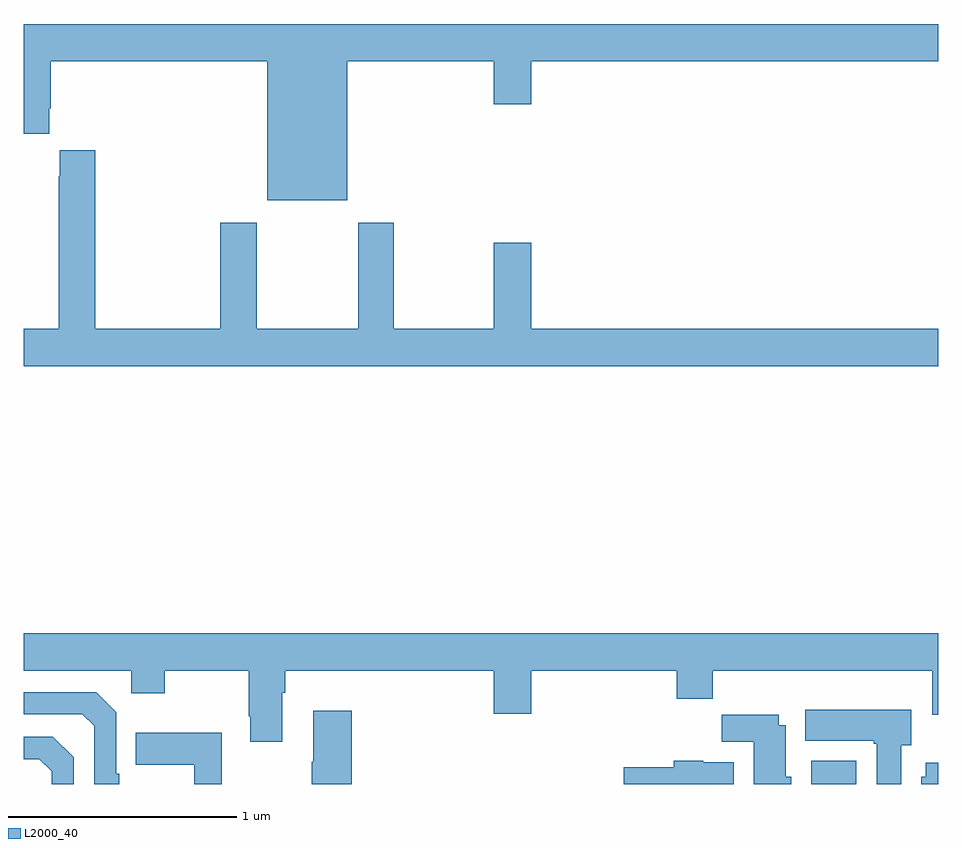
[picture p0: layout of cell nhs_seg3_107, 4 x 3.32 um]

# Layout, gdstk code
import gdstk
lib = gdstk.Library(unit=1e-6, precision=1e-09)
def R(c, l, rs):  # rectangles x0, y0, x1, y1
    for r in rs: c.add(gdstk.rectangle(r[:2], r[2:], *l))
def P(c, l, *ps):  # polygons
    for p in ps: c.add(gdstk.Polygon(p, *l))
L2000_40 = (2000, 40)

nhs_seg3_107 = lib.new_cell('nhs_seg3_107')
R(nhs_seg3_107, L2000_40, [(118.445,720.4,118.642,720.502)])
P(nhs_seg3_107, L2000_40, [(116.416,723.56),(117.056,723.56),(117.056,723.372),(117.22,723.372),(117.22,723.56),(119,723.56),(119,723.724),(115,723.724),(115,723.243),(115.111,723.243),(115.111,723.355),(115.118,723.355),(115.118,723.56),(116.066,723.56),(116.066,722.954),(116.416,722.954)],
  [(119,722.392),(117.22,722.392),(117.22,722.767),(117.056,722.767),(117.056,722.392),(116.619,722.392),(116.619,722.854),(116.464,722.854),(116.464,722.392),(116.019,722.392),(116.019,722.854),(115.859,722.854),(115.859,722.392),(115.313,722.392),(115.313,723.172),(115.157,723.172),(115.157,723.059),(115.153,723.059),(115.153,722.392),(115,722.392),(115,722.228),(119,722.228)],
  [(116.131,720.8),(116.144,720.8),(116.144,720.896),(117.056,720.896),(117.056,720.708),(117.22,720.708),(117.22,720.896),(117.857,720.896),(117.857,720.772),(118.013,720.772),(118.013,720.896),(118.973,720.896),(118.973,720.702),(119,720.702),(119,721.06),(115,721.06),(115,720.896),(115.47,720.896),(115.47,720.797),(115.617,720.797),(115.617,720.896),(115.984,720.896),(115.984,720.697),(115.991,720.697),(115.991,720.585),(116.131,720.585)],
  [(115.417,720.445),(115.404,720.445),(115.404,720.714),(115.317,720.801),(115,720.801),(115,720.705),(115.257,720.705),(115.308,720.654),(115.308,720.4),(115.417,720.4)],
  [(118.837,720.57),(118.882,720.57),(118.882,720.724),(118.418,720.724),(118.418,720.59),(118.717,720.59),(118.717,720.577),(118.73,720.577),(118.73,720.4),(118.837,720.4)],
  [(116.435,720.721),(116.267,720.721),(116.267,720.497),(116.26,720.497),(116.26,720.4),(116.435,720.4)],
  [(118.357,720.432),(118.333,720.432),(118.333,720.658),(118.303,720.658),(118.303,720.703),(118.054,720.703),(118.054,720.584),(118.193,720.584),(118.193,720.4),(118.357,720.4)],
  [(115.867,720.625),(115.489,720.625),(115.489,720.485),(115.746,720.485),(115.746,720.4),(115.867,720.4)],
  [(115.218,720.516),(115.128,720.606),(115,720.606),(115,720.509),(115.069,720.509),(115.122,720.456),(115.122,720.4),(115.218,720.4)],
  [(118.105,720.496),(117.972,720.496),(117.972,720.502),(117.842,720.502),(117.842,720.474),(117.624,720.474),(117.624,720.4),(118.105,720.4)],
  [(119,720.493),(118.946,720.493),(118.946,720.432),(118.925,720.432),(118.925,720.4),(119,720.4)])

lib.write_gds('nhs_seg3_107.gds')
